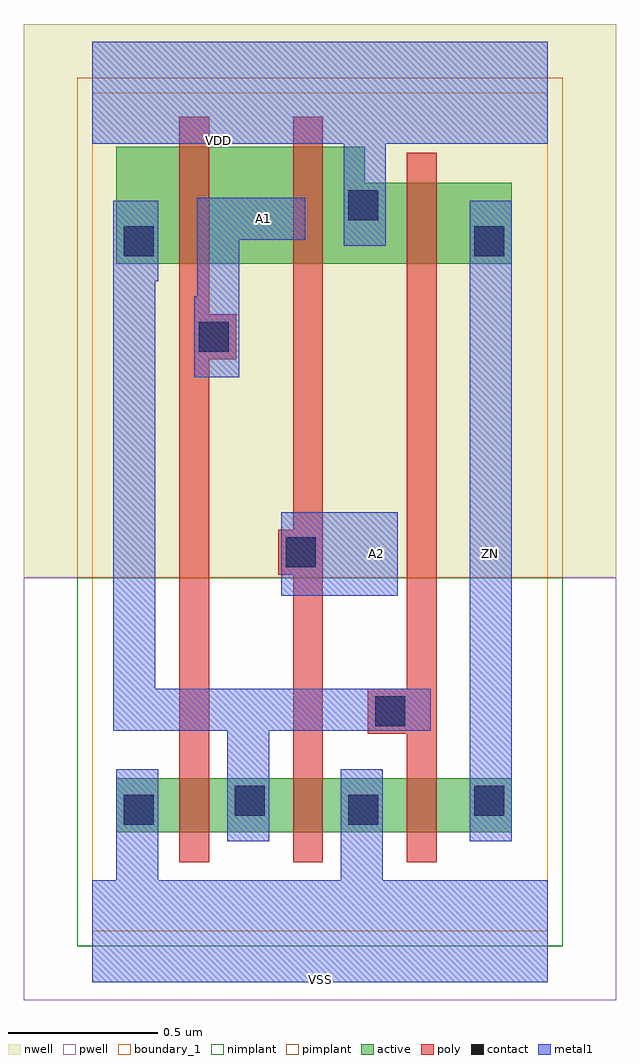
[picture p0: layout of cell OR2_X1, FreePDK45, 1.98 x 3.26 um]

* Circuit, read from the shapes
.subckt OR2_X1 A1 A2 VDD VSS ZN
M1 n1 A1 VSS VSUBS nfet w=0.18u l=0.1u
M2 VSS A2 n1 VSUBS nfet w=0.18u l=0.1u
M3 ZN n1 VSS VSUBS nfet w=0.18u l=0.1u
M4 n2 A1 n1 n3 pfet w=0.39u l=0.1u
M5 VDD A2 n2 n3 pfet w=0.39u l=0.1u
M6 ZN n1 VDD n3 pfet w=0.27u l=0.1u
.ends

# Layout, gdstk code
import gdstk
lib = gdstk.Library(unit=1e-6, precision=1e-09)
def R(c, l, rs):  # rectangles x0, y0, x1, y1
    for r in rs: c.add(gdstk.rectangle(r[:2], r[2:], *l))
def P(c, l, *ps):  # polygons
    for p in ps: c.add(gdstk.Polygon(p, *l))
active = (1, 0)
pwell = (2, 0)
nwell = (3, 0)
nimplant = (4, 0)
pimplant = (5, 0)
poly = (9, 0)
contact = (10, 0)
metal1 = (11, 0)
boundary_1 = (235, 1)

or2_x1 = lib.new_cell('OR2_X1')
R(or2_x1, active, [(0.08,0.33,1.4,0.51)])
P(or2_x1, active, [(0.08,2.23),(1.4,2.23),(1.4,2.5),(0.91,2.5),(0.91,2.62),(0.08,2.62)])
R(or2_x1, pwell, [(-0.23,-0.23,1.75,1.18)])
R(or2_x1, nwell, [(-0.23,1.18,1.75,3.03)])
R(or2_x1, nimplant, [(-0.05,-0.05,1.57,1.18)])
R(or2_x1, pimplant, [(-0.05,1.18,1.57,2.85)])
P(or2_x1, poly, [(0.92,0.66),(1.05,0.66),(1.05,0.23),(1.15,0.23),(1.15,2.6),(1.05,2.6),(1.05,0.81),(0.92,0.81)],
  [(0.62,1.19),(0.67,1.19),(0.67,0.23),(0.77,0.23),(0.77,2.72),(0.67,2.72),(0.67,1.34),(0.62,1.34)],
  [(0.29,0.23),(0.39,0.23),(0.39,1.91),(0.48,1.91),(0.48,2.06),(0.39,2.06),(0.39,2.72),(0.29,2.72)])
R(or2_x1, contact, [(0.105,0.355,0.205,0.455), (0.855,0.355,0.955,0.455), (0.475,0.385,0.575,0.485), (1.275,0.385,1.375,0.485), (0.945,0.685,1.045,0.785), (0.645,1.215,0.745,1.315), (0.355,1.935,0.455,2.035), (0.105,2.255,0.205,2.355), (1.275,2.255,1.375,2.355), (0.855,2.375,0.955,2.475)])
R(or2_x1, metal1, [(1.26,0.3,1.4,2.44), (1.26,0.3,1.4,2.44), (0.63,1.12,1.02,1.4), (0.63,1.12,1.02,1.4)])
P(or2_x1, metal1, [(0,-0.17),(1.52,-0.17),(1.52,0.17),(0.97,0.17),(0.97,0.54),(0.83,0.54),(0.83,0.17),(0.22,0.17),(0.22,0.54),(0.08,0.54),(0.08,0.17),(0,0.17)],
  [(0.34,1.85),(0.49,1.85),(0.49,2.31),(0.71,2.31),(0.71,2.45),(0.35,2.45),(0.35,2.12),(0.34,2.12)],
  [(0,2.63),(0.84,2.63),(0.84,2.29),(0.98,2.29),(0.98,2.63),(1.52,2.63),(1.52,2.97),(0,2.97)],
  [(0,2.63),(0.84,2.63),(0.84,2.29),(0.98,2.29),(0.98,2.63),(1.52,2.63),(1.52,2.97),(0,2.97)],
  [(0,-0.17),(1.52,-0.17),(1.52,0.17),(0.97,0.17),(0.97,0.54),(0.83,0.54),(0.83,0.17),(0.22,0.17),(0.22,0.54),(0.08,0.54),(0.08,0.17),(0,0.17)],
  [(0.07,0.67),(0.45,0.67),(0.45,0.3),(0.59,0.3),(0.59,0.67),(1.13,0.67),(1.13,0.81),(0.21,0.81),(0.21,2.17),(0.22,2.17),(0.22,2.44),(0.07,2.44)],
  [(0.34,1.85),(0.49,1.85),(0.49,2.31),(0.71,2.31),(0.71,2.45),(0.35,2.45),(0.35,2.12),(0.34,2.12)])
R(or2_x1, boundary_1, [(0,0,1.52,2.8)])
or2_x1.add(gdstk.Label('ZN', (1.33,1.26), layer=11, texttype=0))
or2_x1.add(gdstk.Label('VSS', (0.76,-0.16), layer=11, texttype=0))
or2_x1.add(gdstk.Label('VDD', (0.42,2.64), layer=11, texttype=0))
or2_x1.add(gdstk.Label('A2', (0.95,1.26), layer=11, texttype=0))
or2_x1.add(gdstk.Label('A1', (0.57,2.38), layer=11, texttype=0))

lib.write_gds('OR2_X1.gds')
